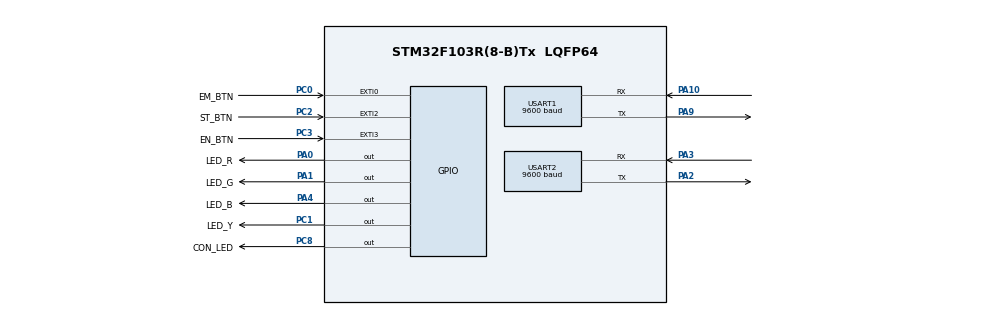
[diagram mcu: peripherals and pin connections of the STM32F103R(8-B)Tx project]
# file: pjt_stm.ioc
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Mcu.Family=STM32F1
Mcu.Name=STM32F103R(8-B)Tx
Mcu.Package=LQFP64
NVIC.EXTI0_IRQn=true\:0\:0\:false\:false\:true\:true\:true\:true
NVIC.EXTI2_IRQn=true\:0\:0\:false\:false\:true\:true\:true\:true
NVIC.EXTI3_IRQn=true\:0\:0\:false\:false\:true\:true\:true\:true
NVIC.PriorityGroup=NVIC_PRIORITYGROUP_4
NVIC.USART1_IRQn=true\:0\:0\:false\:false\:true\:true\:true\:true
NVIC.USART2_IRQn=true\:0\:0\:false\:false\:true\:true\:true\:true
PA0-WKUP.GPIO_Label=LED_R
PA0-WKUP.Signal=GPIO_Output
PA1.GPIO_Label=LED_G
PA1.Signal=GPIO_Output
PA10.Mode=Asynchronous
PA10.Signal=USART1_RX
PA13.Mode=Serial_Wire
PA13.Signal=SYS_JTMS-SWDIO
PA14.Mode=Serial_Wire
PA14.Signal=SYS_JTCK-SWCLK
PA2.Mode=Asynchronous
PA2.Signal=USART2_TX
PA3.Mode=Asynchronous
PA3.Signal=USART2_RX
PA4.GPIO_Label=LED_B
PA4.Signal=GPIO_Output
PA9.Mode=Asynchronous
PA9.Signal=USART1_TX
PC0.GPIO_Label=EM_BTN
PC0.GPIO_PuPd=GPIO_PULLUP
PC0.Signal=GPXTI0
PC1.GPIO_Label=LED_Y
PC1.Signal=GPIO_Output
PC2.GPIO_Label=ST_BTN
PC2.GPIO_ModeDefaultEXTI=GPIO_MODE_IT_RISING
PC2.GPIO_PuPd=GPIO_PULLUP
PC2.Signal=GPXTI2
PC3.GPIO_Label=EN_BTN
PC3.GPIO_ModeDefaultEXTI=GPIO_MODE_IT_RISING
PC3.GPIO_PuPd=GPIO_PULLUP
PC3.Signal=GPXTI3
PC8.GPIO_Label=CON_LED
PC8.Signal=GPIO_Output
ProjectManager.HeapSize=0x200
ProjectManager.StackSize=0x400
ProjectManager.TargetToolchain=STM32CubeIDE
RCC.APB1Freq_Value=8000000
RCC.APB2Freq_Value=8000000
USART1.BaudRate=9600
USART1.VirtualMode=VM_ASYNC
USART2.BaudRate=9600
USART2.VirtualMode=VM_ASYNC
board=custom

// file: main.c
/* USER CODE BEGIN Header */
/**
  ******************************************************************************
  * @file           : main.c
  * @brief          : Main program body
  ******************************************************************************
  * @attention
  *
  * Copyright (c) 2025 STMicroelectronics.
  * All rights reserved.
  *
  * This software is licensed under terms that can be found in the LICENSE file
  * in the root directory of this software component.
  * If no LICENSE file comes with this software, it is provided AS-IS.
  *
  ******************************************************************************
  */
/* USER CODE END Header */
#include "main.h"
#include "usart.h"
#include "gpio.h"

/* USER CODE BEGIN Includes */
#include <stdio.h>
#include <string.h>
/* USER CODE END Includes */

/* USER CODE BEGIN PV */

// RGBY LED flag
static uint8_t LED_R_flag = 0, LED_G_flag = 0, LED_B_flag = 0, LED_Y_flag = 0;

// 0: 정상, 1: 비상 모드
static uint8_t emergency_flag = 0;

// 공정 버튼
static uint8_t process_flag = 0;

// 버튼 디바운스용
#define MAIN_LOCKOUT_MS 250u
static volatile uint32_t main_reenable_ms = 0;

// 비상일 때 LED 깜빡임 주기(ms)
#define EM_BLINK_MS 200u
static uint32_t em_blink_next_ms = 0;

// UART 1바이트 수신용
static uint8_t rx_ch = 0;
static char    cmd3[4];   // 4글자 + '\0'
static uint8_t cmd_idx = 0;

/* USER CODE END PV */

void SystemClock_Config(void);

/* USER CODE BEGIN 0 */
static inline void apply_leds(void) {
  HAL_GPIO_WritePin(LED_R_GPIO_Port, LED_R_Pin, LED_R_flag ? GPIO_PIN_SET : GPIO_PIN_RESET);
  HAL_GPIO_WritePin(LED_G_GPIO_Port, LED_G_Pin, LED_G_flag ? GPIO_PIN_SET : GPIO_PIN_RESET);
  HAL_GPIO_WritePin(LED_B_GPIO_Port, LED_B_Pin, LED_B_flag ? GPIO_PIN_SET : GPIO_PIN_RESET);
  HAL_GPIO_WritePin(LED_Y_GPIO_Port, LED_Y_Pin, LED_Y_flag ? GPIO_PIN_SET : GPIO_PIN_RESET);
}
static inline void set_from_bits(const char *b3) {
  // 비상 모드면 서버 명령 무시
  if (emergency_flag) return;

  LED_R_flag = (strncmp(b3, "001", 3) == 0);
  LED_G_flag = (strncmp(b3, "010", 3) == 0);
  LED_B_flag = (strncmp(b3, "011", 3) == 0);
  LED_Y_flag = (strncmp(b3, "100", 3) == 0);
  apply_leds();

  if(strncmp(b3, "000", 3) == 0){
	  HAL_GPIO_WritePin(CON_LED_GPIO_Port, CON_LED_Pin, 1);
  }
  else if(LED_R_flag || LED_G_flag || LED_B_flag || LED_Y_flag){
  	  HAL_GPIO_WritePin(CON_LED_GPIO_Port, CON_LED_Pin, 0);
  	  const char *msg = "101\r\n";
  	  HAL_UART_Transmit(&huart1, (uint8_t*)msg, strlen(msg), 10);
  }
}

// emergency btn 동작
static void send_emergency_on(void) {
    const char *msg = "111\r\n";
    HAL_UART_Transmit(&huart1, (uint8_t*)msg, strlen(msg), 10);
}

static void send_emergency_off(void) {
    const char *msg = "000\r\n";
    HAL_UART_Transmit(&huart1, (uint8_t*)msg, strlen(msg), 10);
}

// 공정 시작 btn 동작
static void send_process_st(void) {
    const char *msg = "110\r\n";
    HAL_UART_Transmit(&huart1, (uint8_t*)msg, strlen(msg), 10);
}

static void send_process_en(void) {
    const char *msg = "100\r\n";
    HAL_UART_Transmit(&huart1, (uint8_t*)msg, strlen(msg), 10);
}

void HAL_GPIO_EXTI_Callback(uint16_t GPIO_Pin) {
    if (GPIO_Pin == EM_BTN_Pin) {

        uint32_t now = HAL_GetTick();

        // 디바운스(락아웃): 250ms 안에 또 들어오면 무시
        if (main_reenable_ms && now < main_reenable_ms) {
            return;
        }
        main_reenable_ms = now + MAIN_LOCKOUT_MS;

        // 상태 토글
        emergency_flag ^= 1;   // 0->1, 1->0

        if (emergency_flag) {
            // 비상 모드 진입: 서버에 111, 깜빡임 시작
            send_emergency_on();
            // 처음 상태: 네 개 LED 모두 ON으로 시작
            LED_R_flag = LED_G_flag = LED_B_flag = LED_Y_flag = 1;
            apply_leds();
            em_blink_next_ms = now + EM_BLINK_MS;
        } else {
            // 비상 해제: 서버에 000, LED 모두 OFF
            send_emergency_off();
            LED_R_flag = LED_G_flag = LED_B_flag = LED_Y_flag = 0;
            apply_leds();
        }
    }

    if (GPIO_Pin == ST_BTN_Pin && !emergency_flag) {

            uint32_t now = HAL_GetTick();

            // 디바운스(락아웃): 250ms 안에 또 들어오면 무시
            if (main_reenable_ms && now < main_reenable_ms) {
                return;
            }
            main_reenable_ms = now + MAIN_LOCKOUT_MS;

            // 상태 토글
            process_flag = 1;

            if (process_flag) {
                // 공정 시작: 서버에 110
                send_process_st();
            }
            HAL_GPIO_WritePin(CON_LED_GPIO_Port, CON_LED_Pin, 1);
    }
    if (GPIO_Pin == EN_BTN_Pin && !emergency_flag) {

            uint32_t now = HAL_GetTick();

            // 디바운스(락아웃): 250ms 안에 또 들어오면 무시
            if (main_reenable_ms && now < main_reenable_ms) {
                return;
            }
            main_reenable_ms = now + MAIN_LOCKOUT_MS;

            // 상태 토글
            process_flag = 0;

            if (!process_flag) {
                // 공정 시작: 서버에 100
                send_process_en();
            }
            HAL_GPIO_WritePin(LED_R_GPIO_Port, LED_R_Pin, 0);
            HAL_GPIO_WritePin(LED_G_GPIO_Port, LED_G_Pin, 0);
            HAL_GPIO_WritePin(LED_B_GPIO_Port, LED_B_Pin, 0);
            HAL_GPIO_WritePin(LED_Y_GPIO_Port, LED_Y_Pin, 0);
            HAL_GPIO_WritePin(CON_LED_GPIO_Port, CON_LED_Pin, 0);
    }
}
/* USER CODE END 0 */

int main(void)
{

  /* MCU Configuration--------------------------------------------------------*/

  /* Reset of all peripherals, Initializes the Flash interface and the Systick. */
  HAL_Init();

  /* Configure the system clock */
  SystemClock_Config();

  /* Initialize all configured peripherals */
  MX_GPIO_Init();
  MX_USART2_UART_Init();
  MX_USART1_UART_Init();

  /* Infinite loop */
  /* USER CODE BEGIN WHILE */
  HAL_UART_Receive_IT(&huart1, &rx_ch, 1);
  while (1)
  {
    /* USER CODE END WHILE */

    /* USER CODE BEGIN 3 */
	  uint32_t now = HAL_GetTick();

	  // 비상 모드일 때만 RGBY 깜빡이기
	  if (emergency_flag && now >= em_blink_next_ms) {
	      em_blink_next_ms = now + EM_BLINK_MS;

	      LED_R_flag ^= 1;
	      LED_G_flag ^= 1;
	      LED_B_flag ^= 1;
	      LED_Y_flag ^= 1;
	      apply_leds();
  	  }
  }
  /* USER CODE END 3 */
}

void SystemClock_Config(void)
{
  RCC_OscInitTypeDef RCC_OscInitStruct = {0};
  RCC_ClkInitTypeDef RCC_ClkInitStruct = {0};

  /** Initializes the RCC Oscillators according to the specified parameters
  * in the RCC_OscInitTypeDef structure.
  */
  RCC_OscInitStruct.OscillatorType = RCC_OSCILLATORTYPE_HSI;
  RCC_OscInitStruct.HSIState = RCC_HSI_ON;
  RCC_OscInitStruct.HSICalibrationValue = RCC_HSICALIBRATION_DEFAULT;
  RCC_OscInitStruct.PLL.PLLState = RCC_PLL_NONE;
  if (HAL_RCC_OscConfig(&RCC_OscInitStruct) != HAL_OK)
  {
    Error_Handler();
  }

  /** Initializes the CPU, AHB and APB buses clocks
  */
  RCC_ClkInitStruct.ClockType = RCC_CLOCKTYPE_HCLK|RCC_CLOCKTYPE_SYSCLK
                              |RCC_CLOCKTYPE_PCLK1|RCC_CLOCKTYPE_PCLK2;
  RCC_ClkInitStruct.SYSCLKSource = RCC_SYSCLKSOURCE_HSI;
  RCC_ClkInitStruct.AHBCLKDivider = RCC_SYSCLK_DIV1;
  RCC_ClkInitStruct.APB1CLKDivider = RCC_HCLK_DIV1;
  RCC_ClkInitStruct.APB2CLKDivider = RCC_HCLK_DIV1;

  if (HAL_RCC_ClockConfig(&RCC_ClkInitStruct, FLASH_LATENCY_0) != HAL_OK)
  {
    Error_Handler();
  }
}

/* USER CODE BEGIN 4 */
// 3글자 씩 받는 callback
void HAL_UART_RxCpltCallback(UART_HandleTypeDef *huart)
{
    if (huart->Instance == USART1) {

        if (rx_ch == '\r' || rx_ch == '\n') {
            // 엔터로 구분하는 방식이면 여기서 처리
            if (cmd_idx == 3) {
                cmd3[3] = '\0';
                set_from_bits(cmd3);
            }
            cmd_idx = 0;
        } else {
            // 그냥 3글자 연속 받는 방식이면:
            if (cmd_idx < 3) {
                cmd3[cmd_idx++] = rx_ch;
            }
            if (cmd_idx == 3) {
                cmd3[3] = '\0';
                set_from_bits(cmd3);
                cmd_idx = 0;
            }
        }

        // 다음 1바이트 수신 재등록
        HAL_UART_Receive_IT(&huart1, &rx_ch, 1);
    }
}
/* USER CODE END 4 */

void Error_Handler(void)
{
  __disable_irq();
  while (1)
  {
  }
}
